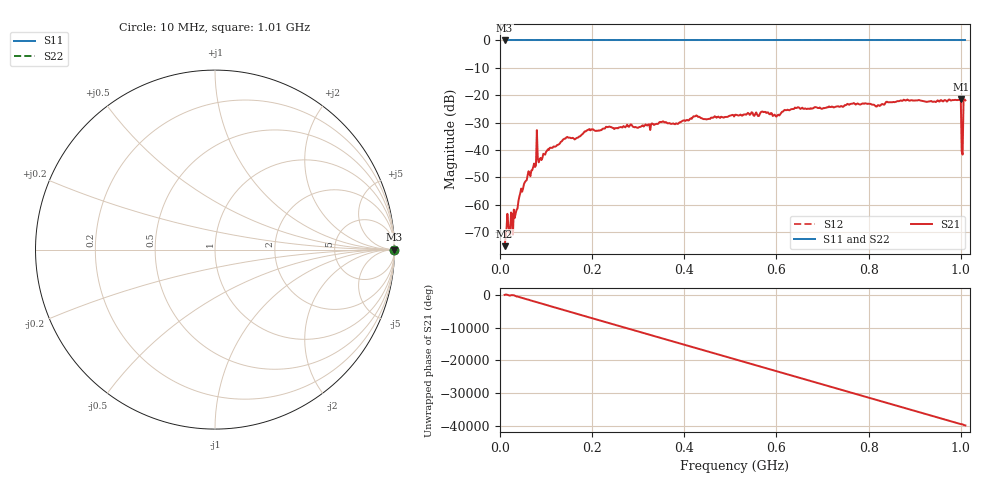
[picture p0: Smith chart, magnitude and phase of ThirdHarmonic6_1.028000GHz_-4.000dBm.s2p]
! 8/16/2025 8:43:39 AM
! C:\ANRITSUVNA\TEMP\TEMP.S2P
! CHANNEL.1
! TR.MEASUREMENT
! RAW.DATA
! RF.CORRECTION.OFF
! AVERAGING.OFF
! IF.BANDWIDTH: 5KHZ
! SWEEPTYPE:  FREQ.SWEEP(Linear)
! Reference Plane Port Info
! PORT:  PORT1  PORT2
! DISTANCE:  0  m  0  m
! TIME:  0  s  0  s
! PHASE.OFFSET:  0  deg.  0  deg.
! LOSS:  0  dB  0  dB
! REF.LOSS:  0  dB  0  dB
! REF.FREQ:  0  Hz  0  Hz
! Power Info
! POWER:  -20  dBm  -20  dBm
! EFF.POWER:  -20  dBm  -20  dBm
! SOURCE.ATTEN:  0  dB  0  dB
! TEST.ATTEN:  0  dB  0  dB
# GHZ S RI R 50.0
! FREQ.GHZ  S11RE  S11IM  S21RE  S21IM  S12RE  S12IM  S22RE  S22IM
!; PortSelection: Port_12
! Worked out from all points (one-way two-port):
!   501 points, 10 MHz to 1.01 GHz, reference 50 ohm
!   highest |S21| = -21.42 dB at 1 GHz (marker M1); lowest = -75.2 dB at 10 MHz (marker M2)
!   lowest |S11| = 0.0 dB at 10 MHz (marker M3)
!   |S11| at or under -10 dB: nowhere
!   |S22| runs from 0.0 to 0.0 dB; largest |S21 - S12| = 1.1
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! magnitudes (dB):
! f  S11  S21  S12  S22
! 10 MHz  0.0  -75.2  0.0  0.0
! 16 MHz  0.0  -63.4  0.0  0.0
! 32 MHz  0.0  -64.8  0.0  0.0
! 44 MHz  0.0  -55.8  0.0  0.0
! 74 MHz  0.0  -45.0  0.0  0.0
! 78 MHz  0.0  -45.7  0.0  0.0
! 84 MHz  0.0  -44.5  0.0  0.0
! 88 MHz  0.0  -42.9  0.0  0.0
! 142 MHz  0.0  -35.9  0.0  0.0
! 178 MHz  0.0  -34.3  0.0  0.0
! 234 MHz  0.0  -31.7  0.0  0.0
! 344 MHz  0.0  -30.3  0.0  0.0
! 510 MHz  0.0  -27.2  0.0  0.0
! 572 MHz  0.0  -26.2  0.0  0.0
! 602 MHz  0.0  -27.3  0.0  0.0
! 644 MHz  0.0  -24.7  0.0  0.0
! 678 MHz  0.0  -24.9  0.0  0.0
! 844 MHz  0.0  -22.6  0.0  0.0
! 996 MHz  0.0  -21.7  0.0  0.0
! 1 GHz  0.0  -21.4  0.0  0.0
! 1.006 GHz  0.0  -21.8  0.0  0.0
! 1.01 GHz  0.0  -21.9  0.0  0.0
